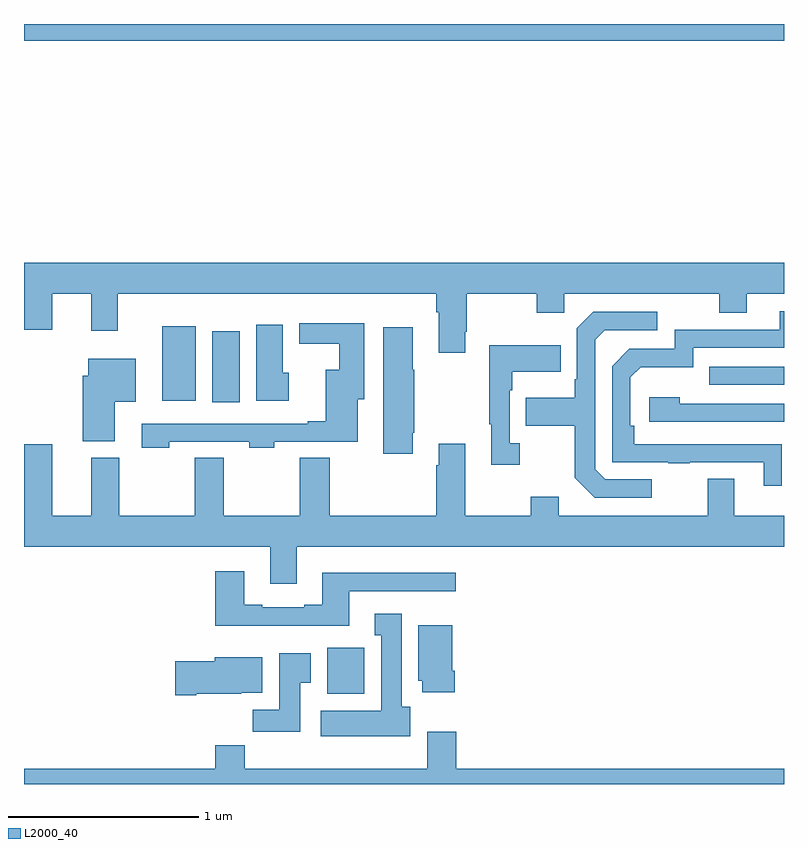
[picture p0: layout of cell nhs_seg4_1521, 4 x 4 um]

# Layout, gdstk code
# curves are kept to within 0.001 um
import gdstk
lib = gdstk.Library(unit=1e-6, precision=1e-09)
def R(c, l, rs):  # rectangles x0, y0, x1, y1
    for r in rs: c.add(gdstk.rectangle(r[:2], r[2:], *l))
def P(c, l, *ps):  # polygons
    for p in ps: c.add(gdstk.Polygon(p, *l))
L2000_40 = (2000, 40)

nhs_seg4_1521 = lib.new_cell('nhs_seg4_1521')
R(nhs_seg4_1521, L2000_40, [(190.595,801.374,190.792,801.616), (189.992,802.908,190.135,803.284), (189.728,802.916,189.904,803.308), (192.607,803.001,193,803.097), (189,804.812,193,804.9)])
P(nhs_seg4_1521, L2000_40, [(191.323,803.281),(191.331,803.281),(191.331,803.48),(191.698,803.48),(191.698,803.381),(191.844,803.381),(191.844,803.48),(192.658,803.48),(192.658,803.381),(192.805,803.381),(192.805,803.48),(193,803.48),(193,803.644),(189,803.644),(189,803.292),(189.148,803.292),(189.148,803.48),(189.353,803.48),(189.353,803.286),(189.493,803.286),(189.493,803.48),(191.171,803.48),(191.171,803.384),(191.183,803.384),(191.183,803.169),(191.323,803.169)],
  [(192.989,802.688),(192.212,802.689),(192.212,802.786),(192.192,802.786),(192.192,803.04),(192.245,803.093),(192.522,803.093),(192.522,803.196),(193,803.196),(193,803.388),(192.977,803.388),(192.977,803.292),(192.426,803.292),(192.426,803.19),(192.186,803.19),(192.096,803.1),(192.096,802.593),(192.391,802.593),(192.391,802.588),(192.503,802.588),(192.503,802.593),(192.893,802.593),(192.893,802.47),(192.989,802.47)],
  [(192.304,802.503),(192.06,802.503),(192.006,802.557),(192.006,803.238),(192.057,803.289),(192.334,803.289),(192.334,803.385),(191.997,803.385),(191.91,803.298),(191.91,803.029),(191.898,803.029),(191.898,802.933),(191.641,802.933),(191.641,802.786),(191.898,802.786),(191.898,802.513),(192.003,802.407),(192.304,802.407)],
  [(189.765,802.701),(190.185,802.701),(190.185,802.669),(190.317,802.669),(190.317,802.701),(190.756,802.701),(190.756,802.925),(190.792,802.925),(190.792,803.326),(190.449,803.326),(190.449,803.217),(190.658,803.217),(190.658,803.08),(190.589,803.08),(190.589,802.81),(190.493,802.81),(190.493,802.797),(189.621,802.797),(189.621,802.669),(189.765,802.669)],
  [(190.393,803.064),(190.363,803.064),(190.363,803.317),(190.223,803.317),(190.223,802.916),(190.393,802.916)],
  [(191.047,802.75),(191.055,802.75),(191.055,803.081),(191.047,803.081),(191.047,803.305),(190.892,803.305),(190.892,802.638),(191.047,802.638)],
  [(191.608,802.694),(191.556,802.694),(191.556,802.973),(191.569,802.973),(191.569,803.069),(191.825,803.069),(191.825,803.209),(191.448,803.209),(191.448,802.793),(191.459,802.793),(191.459,802.581),(191.608,802.581)],
  [(189.478,802.913),(189.589,802.913),(189.589,803.137),(189.338,803.137),(189.338,803.049),(189.308,803.049),(189.308,802.703),(189.478,802.703)],
  [(193,802.902),(192.452,802.902),(192.452,802.936),(192.291,802.936),(192.291,802.806),(193,802.806)],
  [(190.435,802.148),(193,802.148),(193,802.312),(192.739,802.312),(192.739,802.507),(192.599,802.507),(192.599,802.312),(191.815,802.312),(191.815,802.411),(191.668,802.411),(191.668,802.312),(191.323,802.312),(191.323,802.69),(191.183,802.69),(191.183,802.577),(191.171,802.577),(191.171,802.312),(190.61,802.312),(190.61,802.616),(190.45,802.616),(190.45,802.312),(190.052,802.312),(190.052,802.616),(189.898,802.616),(189.898,802.312),(189.501,802.312),(189.501,802.618),(189.353,802.618),(189.353,802.312),(189.148,802.312),(189.148,802.687),(189,802.687),(189,802.148),(190.295,802.148),(190.295,801.954),(190.435,801.954)],
  [(190.711,801.915),(191.272,801.915),(191.272,802.012),(190.571,802.012),(190.571,801.844),(190.475,801.844),(190.475,801.831),(190.255,801.831),(190.255,801.844),(190.159,801.844),(190.159,802.021),(190.007,802.021),(190.007,801.734),(190.711,801.734)],
  [(191.032,801.306),(190.987,801.306),(190.987,801.796),(190.847,801.796),(190.847,801.683),(190.88,801.683),(190.88,801.286),(190.563,801.286),(190.563,801.152),(191.032,801.152)],
  [(191.267,801.496),(191.254,801.496),(191.254,801.736),(191.075,801.736),(191.075,801.444),(191.096,801.444),(191.096,801.384),(191.267,801.384)],
  [(190.453,801.433),(190.51,801.433),(190.51,801.589),(190.343,801.589),(190.343,801.292),(190.204,801.292),(190.204,801.174),(190.453,801.174)],
  [(189.907,801.374),(190.143,801.374),(190.143,801.38),(190.255,801.38),(190.255,801.568),(190.004,801.568),(190.004,801.545),(189.795,801.545),(189.795,801.367),(189.907,801.367)],
  [(193,800.98),(191.276,800.98),(191.276,801.175),(191.123,801.175),(191.123,800.98),(190.163,800.98),(190.163,801.104),(190.007,801.104),(190.007,800.98),(189,800.98),(189,800.9),(193,800.9)])

lib.write_gds('nhs_seg4_1521.gds')
